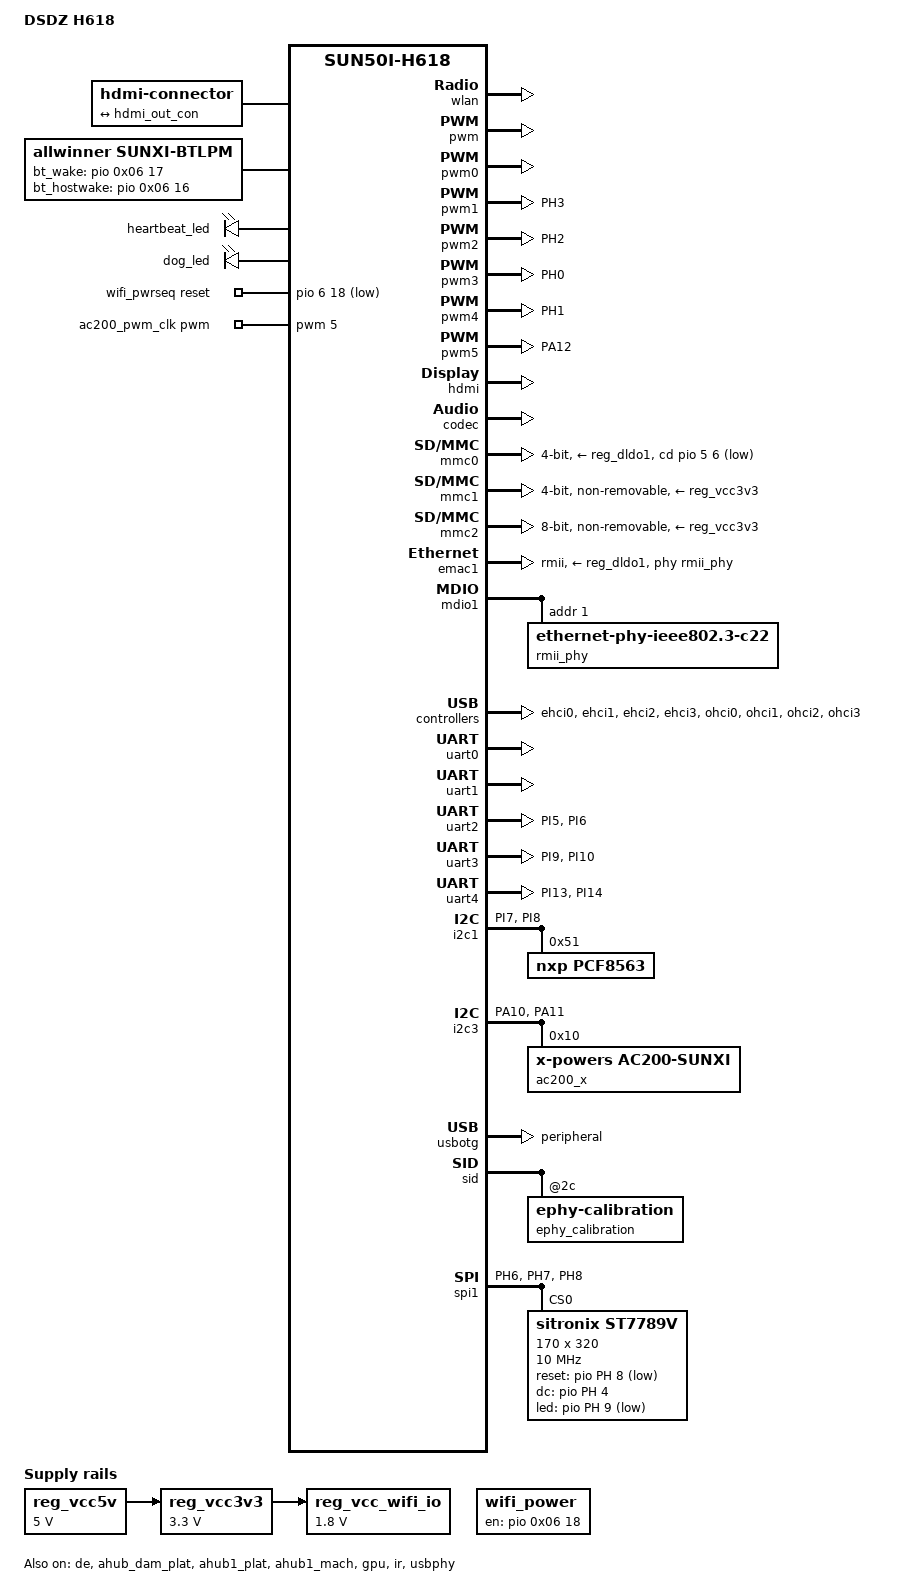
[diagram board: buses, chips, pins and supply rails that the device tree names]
// SPDX-License-Identifier: (GPL-2.0+ OR MIT)
/*
 * Copyright (C) 2024 Mori Ltd. <mori@mori.pro>
 *
 * For DSDZ-H618 An Mini Core 1/2G DDR4 DRAM
 * Power By Mori
 */

/dts-v1/;

#include "sun50i-h616.dtsi"
#include "sun50i-h616-cpu-opp.dtsi"
#include "sun50i-h618-cpu-dvfs.dtsi"

#include <dt-bindings/gpio/gpio.h>
#include <dt-bindings/interrupt-controller/arm-gic.h>
#include <dt-bindings/leds/common.h>

/ {
	model = "DSDZ H618";
	compatible = "DSDZ,DSDZ-H618", "allwinner,sun50i-h618";

	aliases {
		serial0 = &uart0;
		serial1 = &uart1;
		serial2 = &uart2;
		serial3 = &uart3;
		serial4 = &uart4;
		serial5 = &uart5;
		mmc0 = &mmc0;
		mmc1 = &mmc1;
		mmc2 = &mmc2;
	};

	chosen {
		stdout-path = "serial0:115200n8";
	};

	connector {
		compatible = "hdmi-connector";
		type = "d";

		port {
			hdmi_con_in: endpoint {
				remote-endpoint = <&hdmi_out_con>;
			};
		};
	};

	reg_vcc5v: vcc5v {
		/* board wide 5V supply directly from the USB-C socket */
		compatible = "regulator-fixed";
		regulator-name = "vcc-5v";
		regulator-min-microvolt = <5000000>;
		regulator-max-microvolt = <5000000>;
		regulator-always-on;
	};

	reg_vcc3v3: vcc3v3 {
		/* SY8089 DC/DC converter */
		compatible = "regulator-fixed";
		regulator-name = "vcc-3v3";
		regulator-min-microvolt = <3300000>;
		regulator-max-microvolt = <3300000>;
		vin-supply = <&reg_vcc5v>;
		regulator-always-on;
	};

	reg_vcc_wifi_io: vcc-wifi-io {
		/* Always on 1.8V/300mA regulator for WiFi and BT IO */
		compatible = "regulator-fixed";
		regulator-name = "vcc-wifi-io";
		regulator-min-microvolt = <1800000>;
		regulator-max-microvolt = <1800000>;
		regulator-always-on;
		vin-supply = <&reg_vcc3v3>;
	};
	
			rfkill: rfkill {
			compatible = "allwinner,sunxi-rfkill";
		};

		btlpm: btlpm {
			compatible = "allwinner,sunxi-btlpm";
		};

	leds {
		compatible = "gpio-leds";
		heat {
			gpio = <&pio 6 13 GPIO_ACTIVE_HIGH>;
			label = "heartbeat_led";
			linux,default-trigger = "heartbeat";
		};
		dog {
			gpio = <&pio 6 14 GPIO_ACTIVE_HIGH>;
			label = "dog_led";
			linux,default-trigger = "heartbeat";
		};
	};

	wifi_pwrseq: wifi-pwrseq {
		compatible = "mmc-pwrseq-simple";
		clocks = <&rtc 1>;
		clock-names = "osc32k-out";
		reset-gpios = <&pio 6 18 GPIO_ACTIVE_LOW>; /* PG18 */
		post-power-on-delay-ms = <400>;
	};


	ac200_pwm_clk: ac200_clk {
		compatible = "pwm-clock";
		#clock-cells = <0>;
		// pwm5 period_ns = 500 > 334 for select 24M clock.
		pwms = <&pwm 5 500 0>;
		clock-frequency = <2000000>;
		status = "okay";
	};

	soc {
		pwm: pwm@300a000 {
			compatible = "allwinner,sun50i-h616-pwm";
			reg = <0x0300a000 0x400>;
			clocks = <&osc24M>, <&ccu CLK_BUS_PWM>;
			clock-names = "mod", "bus";
			resets = <&ccu RST_BUS_PWM>;
			pwm-number = <6>;
			pwm-base = <0x0>;
			sunxi-pwms = <&pwm0>, <&pwm1>, <&pwm2>, <&pwm3>, <&pwm4>, <&pwm5>;
			#pwm-cells = <3>;
			status = "okay";
		};

		pwm0: pwm0@0300a000 {
			compatible = "allwinner,sunxi-pwm0";
		};

		pwm1: pwm1@0300a000 {
			compatible = "allwinner,sunxi-pwm1";
			pinctrl-names = "default";
			pinctrl-0 = <&pwm1_ph_pin>;
		};

		pwm2: pwm2@0300a000 {
			compatible = "allwinner,sunxi-pwm2";
			pinctrl-names = "default";
			pinctrl-0 = <&pwm2_ph_pin>;
		};

		pwm3: pwm3@0300a000 {
			compatible = "allwinner,sunxi-pwm3";
			pinctrl-names = "default";
			pinctrl-0 = <&pwm3_ph_pin>;
		};

		pwm4: pwm4@0300a000 {
			compatible = "allwinner,sunxi-pwm4";
			pinctrl-names = "default";
			pinctrl-0 = <&pwm4_ph_pin>;
		};

		pwm5: pwm5@0300a000 {
			compatible = "allwinner,sunxi-pwm5";
			pinctrl-names = "default";
			pinctrl-0 = <&pwm5_pin>;
			clk_bypass_output = <0x1>;
			status = "okay";
		};
	};
	
	
    wifi_power: wifi-power {
        compatible = "regulator-fixed";        /* 这里只利用 gpios 属性做开关 */
        regulator-name = "vcc-wifi";
        /* H618: 0x06 是 PG 组，如果你确认是 PG18 就保持如下三元组 */
        gpios = <&pio 0x06 18 GPIO_ACTIVE_HIGH>;  /* = wlan_regon 脚 */
        enable-active-high;
        startup-delay-us = <120000>;            /* 上电后等待 120ms */
        off-on-delay-us = <50000>;              /* 断电后再上电，间隔 50ms */
        status = "okay";
    };
};

&de {
	status = "okay";
};

&hdmi {
	status = "okay";
};
&codec {
	allwinner,audio-routing =
			"Line Out", "LINEOUT";
	status = "okay";
};

&ahub_dam_plat {
	status = "okay";
};

&ahub1_plat {
	status = "okay";
};

&ahub1_mach {
	status = "okay";
};

&hdmi_out {
	hdmi_out_con: endpoint {
		remote-endpoint = <&hdmi_con_in>;
	};
};

&gpu {
	mali-supply = <&reg_dcdc1>;
	status = "okay";
};

&mmc0 {
	cd-gpios = <&pio 5 6 GPIO_ACTIVE_LOW>;	/* PF6 */
	bus-width = <4>;
	vmmc-supply = <&reg_dldo1>;
	max-frequency = <25000000>;
	status = "okay";
};

/* 你原有的节点保持不变（可贴在原处） */
&rfkill {
    compatible = "allwinner,sunxi-rfkill";
    status = "okay";
    chip_en;
    power_en;
    pinctrl-0;
    pinctrl-names;
    clocks;
    phandle = <0xd2>;

    wlan: wlan@0 {
        compatible = "allwinner,sunxi-wlan";
        wlan_busnum = <0x01>;                   /* 对应 sdc1，和我们代码里默认 bus=1 一致 */
        wlan_power;                             /* 保留无妨（BSP 用） */
        wlan_regon = <&pio 0x06 18 0>;          /* 这根脚与 wifi_power 的 gpios 相同 */
        wlan_hostwake = <&pio 0x06 15 0>;
        wakeup-source;
        phandle = <0xd3>;
        status = "okay";
    };

    bt: bt@0 {
        compatible = "allwinner,sunxi-bt";
        bt_power;
        bt_rst_n = <&pio 0x06 19 1>;
        phandle = <0xd4>;
        status = "okay";
    };
};

&btlpm {
    compatible = "allwinner,sunxi-btlpm";
    status = "okay";
    uart_index = <0x01>;
    bt_wake = <&pio 0x06 17 0>;
    bt_hostwake = <&pio 0x06 16 0>;
    wakeup-source;
    phandle = <0xd6>;
};


&mmc1 {
	vmmc-supply = <&reg_vcc3v3>;
	vqmmc-supply = <&reg_vcc_wifi_io>;
	mmc-pwrseq = <&wifi_pwrseq>;
	bus-width = <4>;
	non-removable;
	keep-power-in-suspend;
	cap-sd-highspeed;
	max-frequency = <25000000>;
	
	status = "okay";
};



&mmc2 {
	vmmc-supply = <&reg_vcc3v3>;
	vqmmc-supply = <&reg_vcc_wifi_io>;
	cap-mmc-hw-reset;
	bus-width = <8>;
	max-frequency = <15000000>;
	non-removable;
	mmc-hs200-1_8v;
	status = "okay";

};
&emac0 {
	status = "disabled";
};

&emac1 {
	pinctrl-names = "default";
	pinctrl-0 = <&rmii_pins>;
	phy-mode = "rmii";
	phy-handle = <&rmii_phy>;
	phy-supply = <&reg_dldo1>;
	allwinner,rx-delay-ps = <3100>;
	allwinner,tx-delay-ps = <700>;
	status = "okay";
};

&mdio1 {
	rmii_phy: ethernet-phy@1 {
		compatible = "ethernet-phy-ieee802.3-c22";
		reg = <1>;
	};
};

&ehci0 {
	status = "okay";
};

&ehci1 {
	status = "okay";
};

&ehci2 {
	status = "okay";
};

&ehci3 {
	status = "okay";
};

&ohci0 {
	status = "okay";
};

&ohci1 {
	status = "okay";
};

&ohci2 {
	status = "okay";
};

&ohci3 {
	status = "okay";
};

&ir {
	pinctrl-names = "default";
	pinctrl-0 = <&ir_rx_pin>;
	status = "okay";
};

&uart0 {
	pinctrl-names = "default";
	pinctrl-0 = <&uart0_ph_pins>;
	status = "okay";
};

&uart1 {
	pinctrl-names = "default";
	pinctrl-0 = <&uart1_pins>;
	status = "okay";
};

&uart2 {
	pinctrl-names = "default";
	pinctrl-0 = <&uart2_pi_pins>;
	status = "okay";
};

&uart3 {
	pinctrl-names = "default";
	pinctrl-0 = <&uart3_pi_pins>;
	status = "okay";
};

&uart4 {
	pinctrl-names = "default";
	pinctrl-0 = <&uart4_pi_pins>;
	status = "okay";
};

&uart5 {
	pinctrl-names = "default";
	pinctrl-0 = <&uart5_ph_pins>;
	status = "disabled";
};

&i2c1 {
	status = "okay";
	pinctrl-names = "default";
	pinctrl-0 = <&i2c1_pi_pins>;
	
	pcf8563: pcf8563@51 {
		status = "okay";
		compatible = "nxp,pcf8563";
		reg = <0x51>;
	};
};

&i2c3 {
	status = "okay";
	pinctrl-names = "default";
	pinctrl-0 = <&i2c3_pa_pins>;

	ac200_x: mfd@10 {
		compatible = "x-powers,ac200-sunxi";
		reg = <0x10>;
		clocks = <&ac200_pwm_clk>;
		// ephy id
		nvmem-cells = <&ephy_calibration>;
		nvmem-cell-names = "calibration";

		ac200_ephy: phy {
			compatible = "x-powers,ac200-ephy-sunxi";
			status = "okay";
		};
	};
};

&i2c4 {
	pinctrl-names = "default";
	pinctrl-0 = <&i2c4_ph_pins>;
	status = "disabled";
};

&usbotg {
	/*
	 * PHY0 pins are connected to a USB-C socket, but a role switch
	 * is not implemented: both CC pins are pulled to GND.
	 * The VBUS pins power the device, so a fixed peripheral mode
	 * is the best choice.
	 * The board can be powered via GPIOs, in this case port0 *can*
	 * act as a host (with a cable/adapter ignoring CC), as VBUS is
	 * then provided by the GPIOs. Any user of this setup would
	 * need to adjust the DT accordingly: dr_mode set to "host",
	 * enabling OHCI0 and EHCI0.
	 */
	dr_mode = "peripheral";
	status = "okay";
};

&usbphy {
	usb1_vbus-supply = <&reg_vcc5v>;
	status = "okay";
};

&cpu0 {
	cpu-supply = <&reg_dcdc2>;
	status = "okay";
};

&sid {
	ephy_calibration: ephy-calibration@2c {
		reg = <0x2c 0x2>;
	};
};

&cpu_temp_critical {
	temperature = <100000>;
};

&gpu_temp_critical {
	temperature = <100000>;
};

&ve_temp_critical {
	temperature = <100000>;
};

&ddr_temp_critical {
	temperature = <100000>;
};

&pio {
	vcc-pc-supply = <&reg_dldo1>;
	vcc-pf-supply = <&reg_dldo1>;
	vcc-pg-supply = <&reg_aldo1>;
	vcc-ph-supply = <&reg_dldo1>;
	vcc-pi-supply = <&reg_dldo1>;

	/omit-if-no-ref/
	i2c0_pi_pins: i2c0-pi-pins {
		/*pins = "PI5", "PI6";*/
		function = "i2c0";
	};

	/omit-if-no-ref/
	i2c1_pi_pins: i2c1-pi-pins {
		pins = "PI7", "PI8";
		function = "i2c1";
	};

	/omit-if-no-ref/
	i2c2_pi_pins: i2c2-pi-pins {
		pins = "PI9", "PI10";
		function = "i2c2";
	};

	i2c3_pa_pins: i2c3-pa-pins {
		pins = "PA10", "PA11";
		function = "i2c3";
		bias-pull-up;
	};

	/omit-if-no-ref/
	i2c4_ph_pins: i2c4-ph-pins {
		pins = "PH6", "PH7";
		function = "i2c4";
	};
	
	uart1_rts_cts_pins: uart1-rts-cts-pins {
		pins = "PG6", "PG7","PG8","PG9";
		function = "uart1";
	};

	/omit-if-no-ref/
	uart2_pi_pins: uart2-pi-pins {
		pins = "PI5", "PI6";
		function = "uart2";
	};


	/omit-if-no-ref/
	uart3_pi_pins: uart3-pi-pins {
		pins = "PI9", "PI10";
		function = "uart3";
	};

	/omit-if-no-ref/
	uart4_pi_pins: uart4-pi-pins {
		pins = "PI13", "PI14";
		function = "uart4";
	};

	/omit-if-no-ref/
	uart5_ph_pins: uart5-ph-pins {
		pins = "PH2", "PH3";
		function = "uart5";
	};

	/omit-if-no-ref/
	spi1_cs1_pin: spi1-cs1-pin {
		pins = "PH9";
		function = "spi1";
	};

	/omit-if-no-ref/
	pwm1_ph_pin: pwm1-ph-pin {
		pins = "PH3";
		function = "pwm1";
	};

	/omit-if-no-ref/
	pwm2_ph_pin: pwm2-ph-pin {
		pins = "PH2";
		function = "pwm2";
	};

	/omit-if-no-ref/
	pwm3_ph_pin: pwm3-ph-pin {
		pins = "PH0";
		function = "pwm3";
	};

	/omit-if-no-ref/
	pwm4_ph_pin: pwm4-ph-pin {
		pins = "PH1";
		function = "pwm4";
	};

	/omit-if-no-ref/
	pwm5_pin: pwm5-pin {
		pins = "PA12";
		function = "pwm5";
	};

	/omit-if-no-ref/
	spi1_pins: spi1-pins {
		pins = "PH6", "PH7", "PH8";
		function = "spi1";
	};
};

&spi1 {
	pinctrl-names = "default", "sleep";
	pinctrl-0 = <&spi1_pins>;
	pinctrl-1 = <&spi1_pins>;
	status = "okay";

	st7789v@0 {
		compatible = "sitronix,st7789v";
		reg = <0>;
		spi-max-frequency = <10000000>;
		rotate = <90>;
		spi-cpol;
		spi-cpha;
		rgb;
		fps = <30>;
		buswidth = <8>;
		backlight = <1>;
		width = <170>;
		height = <320>;
		reset-gpios = <&pio PH 8 GPIO_ACTIVE_LOW>;
		dc-gpios = <&pio PH 4 GPIO_ACTIVE_HIGH>;
		led-gpios = <&pio PH 9 GPIO_ACTIVE_LOW>;
		debug = <0>;
		status = "okay";
	};
};

